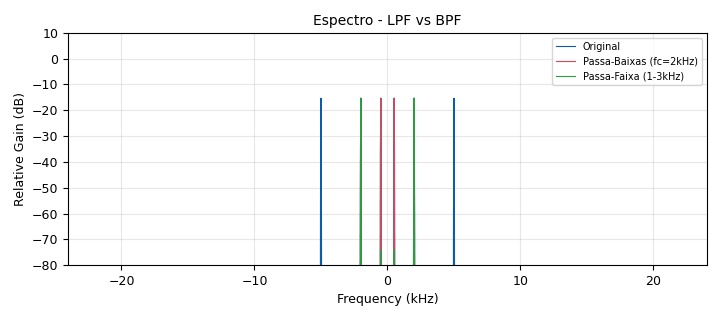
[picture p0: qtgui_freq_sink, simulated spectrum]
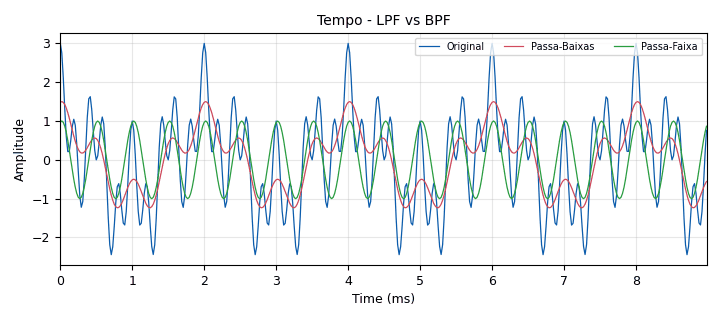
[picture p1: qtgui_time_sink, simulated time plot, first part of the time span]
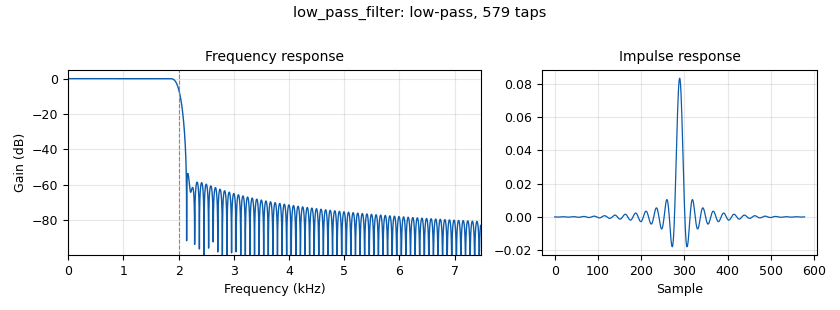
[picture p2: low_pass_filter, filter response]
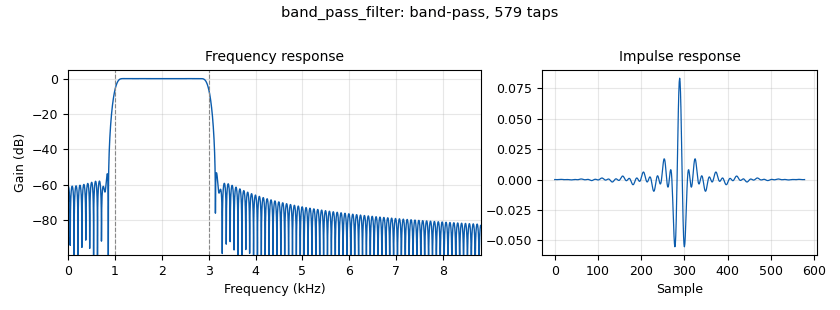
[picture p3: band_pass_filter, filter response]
options:
  parameters:
    author: Curso PriCom - UnB
    comment: |-
      Exemplo 05 - Comparacao de Filtros Praticos
      Mesmo sinal passa por LPF e BPF. Compare a seletividade e o efeito no sinal.
    description: Comparacao de Filtros Praticos
    generate_options: qt_gui
    id: exemplo_05_comparacao_filtros
    output_language: python
    title: Exemplo 05 - Comparacao LPF vs BPF
  states: {}

blocks:
- name: samp_rate
  id: variable
  parameters:
    comment: Taxa de amostragem
    value: '48000'
  states: {}
- name: fc_lp
  id: variable
  parameters:
    comment: Freq corte do LPF
    value: '2000'
  states: {}
- name: fc_bp_low
  id: variable
  parameters:
    comment: Freq inferior do BPF
    value: '1000'
  states: {}
- name: fc_bp_high
  id: variable
  parameters:
    comment: Freq superior do BPF
    value: '3000'
  states: {}
- name: note_info
  id: note
  parameters:
    comment: 'COMPARACAO LPF vs BPF: sinal com 500, 2000, 5000 Hz. LPF (fc=2kHz) deixa passar 500 e 2000 Hz. BPF (1-3kHz) deixa passar apenas 2000 Hz.'
    note: LPF vs BPF
  states: {}
- name: cos_500
  id: analog_sig_source_x
  parameters:
    amp: '1'
    comment: 500 Hz
    freq: '500'
    offset: '0'
    phase: '0'
    samp_rate: samp_rate
    type: float
    waveform: analog.GR_COS_WAVE
  states: {}
- name: cos_2000
  id: analog_sig_source_x
  parameters:
    amp: '1'
    comment: 2000 Hz
    freq: '2000'
    offset: '0'
    phase: '0'
    samp_rate: samp_rate
    type: float
    waveform: analog.GR_COS_WAVE
  states: {}
- name: cos_5000
  id: analog_sig_source_x
  parameters:
    amp: '1'
    comment: 5000 Hz
    freq: '5000'
    offset: '0'
    phase: '0'
    samp_rate: samp_rate
    type: float
    waveform: analog.GR_COS_WAVE
  states: {}
- name: blocks_add
  id: blocks_add_xx
  parameters:
    comment: Soma das 3 componentes
    num_inputs: '3'
    type: float
  states: {}
- name: blocks_throttle
  id: blocks_throttle2
  parameters:
    samples_per_second: samp_rate
    type: float
  states: {}
- name: low_pass_filter
  id: low_pass_filter
  parameters:
    comment: Passa-Baixas fc=2kHz
    cutoff_freq: fc_lp
    decim: '1'
    gain: '1'
    samp_rate: samp_rate
    type: fir_filter_fff
    width: '200'
    win: window.WIN_HAMMING
  states: {}
- name: band_pass_filter
  id: band_pass_filter
  parameters:
    comment: Passa-Faixa 1-3 kHz
    high_cutoff_freq: fc_bp_high
    low_cutoff_freq: fc_bp_low
    decim: '1'
    gain: '1'
    samp_rate: samp_rate
    type: fir_filter_fff
    width: '200'
    win: window.WIN_HAMMING
  states: {}
- name: qtgui_freq_sink
  id: qtgui_freq_sink_x
  parameters:
    bw: samp_rate
    comment: 'Compare os espectros: LPF vs BPF'
    fc: '0'
    fftsize: '4096'
    grid: 'True'
    gui_hint: 0,0,1,1
    label1: Original
    label2: Passa-Baixas (fc=2kHz)
    label3: Passa-Faixa (1-3kHz)
    name: '"Espectro - LPF vs BPF"'
    nconnections: '3'
    type: float
    width1: '2'
    width2: '2'
    width3: '2'
    ymin: '-80'
  states: {}
- name: qtgui_time_sink
  id: qtgui_time_sink_x
  parameters:
    autoscale: 'True'
    grid: 'True'
    gui_hint: 1,0,1,1
    label1: Original
    label2: Passa-Baixas
    label3: Passa-Faixa
    name: '"Tempo - LPF vs BPF"'
    nconnections: '3'
    size: '2048'
    srate: samp_rate
    type: float
    width1: '2'
    width2: '2'
    width3: '2'
    ymax: '3'
    ymin: '-3'
  states: {}

connections:
- [cos_500, '0', blocks_add, '0']
- [cos_2000, '0', blocks_add, '1']
- [cos_5000, '0', blocks_add, '2']
- [blocks_add, '0', blocks_throttle, '0']
- [blocks_throttle, '0', qtgui_freq_sink, '0']
- [blocks_throttle, '0', qtgui_time_sink, '0']
- [blocks_throttle, '0', low_pass_filter, '0']
- [blocks_throttle, '0', band_pass_filter, '0']
- [low_pass_filter, '0', qtgui_freq_sink, '1']
- [low_pass_filter, '0', qtgui_time_sink, '1']
- [band_pass_filter, '0', qtgui_freq_sink, '2']
- [band_pass_filter, '0', qtgui_time_sink, '2']

metadata:
  file_format: 1
  grc_version: 3.10.12.0
